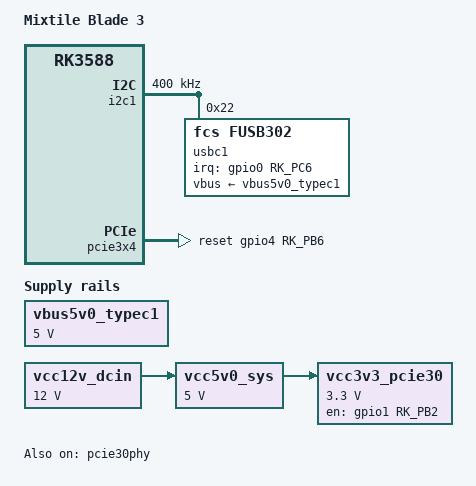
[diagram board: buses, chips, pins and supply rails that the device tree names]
// SPDX-License-Identifier: (GPL-2.0+ OR MIT)
/*
 * Copyright (c) 2022 Mixtile Limited
 *
 */

/dts-v1/;

#include "rk3588.dtsi"
#include "rk3588-u-boot.dtsi"
#include <dt-bindings/input/input.h>

/ {
	model = "Mixtile Blade 3";
	compatible = "mixtile,blade3", "rockchip,rk3588";

	vbus5v0_typec1: vbus5v0-typec1 {
		compatible = "regulator-fixed";
		regulator-name = "vbus5v0_typec1";
		regulator-min-microvolt = <5000000>;
		regulator-max-microvolt = <5000000>;
	};
	
	vcc12v_dcin: vcc12v-dcin {
		u-boot,dm-pre-reloc;
		compatible = "regulator-fixed";
		regulator-name = "vcc12v_dcin";
		regulator-always-on;
		regulator-boot-on;
		regulator-min-microvolt = <12000000>;
		regulator-max-microvolt = <12000000>;
	};
	
	vcc5v0_sys: vcc5v0-sys {
		u-boot,dm-pre-reloc;
		compatible = "regulator-fixed";
		regulator-name = "vcc5v0_sys";
		regulator-always-on;
		regulator-boot-on;
		regulator-min-microvolt = <5000000>;
		regulator-max-microvolt = <5000000>;
		vin-supply = <&vcc12v_dcin>;
	};

	vcc3v3_pcie30: vcc3v3-pcie30 {
		u-boot,dm-pre-reloc;
		compatible = "regulator-fixed";
		regulator-name = "vcc3v3_pcie30";
		regulator-min-microvolt = <3300000>;
		regulator-max-microvolt = <3300000>;
		enable-active-high;
		gpio = <&gpio1 RK_PB2 GPIO_ACTIVE_HIGH>;
		regulator-boot-on;
		regulator-always-on;
		vin-supply = <&vcc5v0_sys>;
	};
};

&i2c1 {
	status = "okay";

	clock-frequency = <400000>;
	i2c-scl-rising-time-ns = <160>;
	i2c-scl-falling-time-ns = <30>;

	usbc1: fusb302@22 {
		compatible = "fcs,fusb302";
		reg = <0x22>;
		interrupt-parent = <&gpio0>;
		interrupts = <RK_PC6 IRQ_TYPE_LEVEL_LOW>;
		pinctrl-names = "default";
		pinctrl-0 = <&usbc1_int>;
		vbus-supply = <&vbus5v0_typec1>;
		status = "okay";
	};
};

&pinctrl {
	usb-typec {
		usbc1_int: usbc1-int {
			rockchip,pins = <0 RK_PC6 RK_FUNC_GPIO &pcfg_pull_up>;
		};
	};
};

&pcie3x4 {
	u-boot,dm-pre-reloc;
	reset-gpios = <&gpio4 RK_PB6 GPIO_ACTIVE_HIGH>;
	status = "okay";
};

&pcie30phy {
	u-boot,dm-pre-reloc;
	status = "okay";
};
